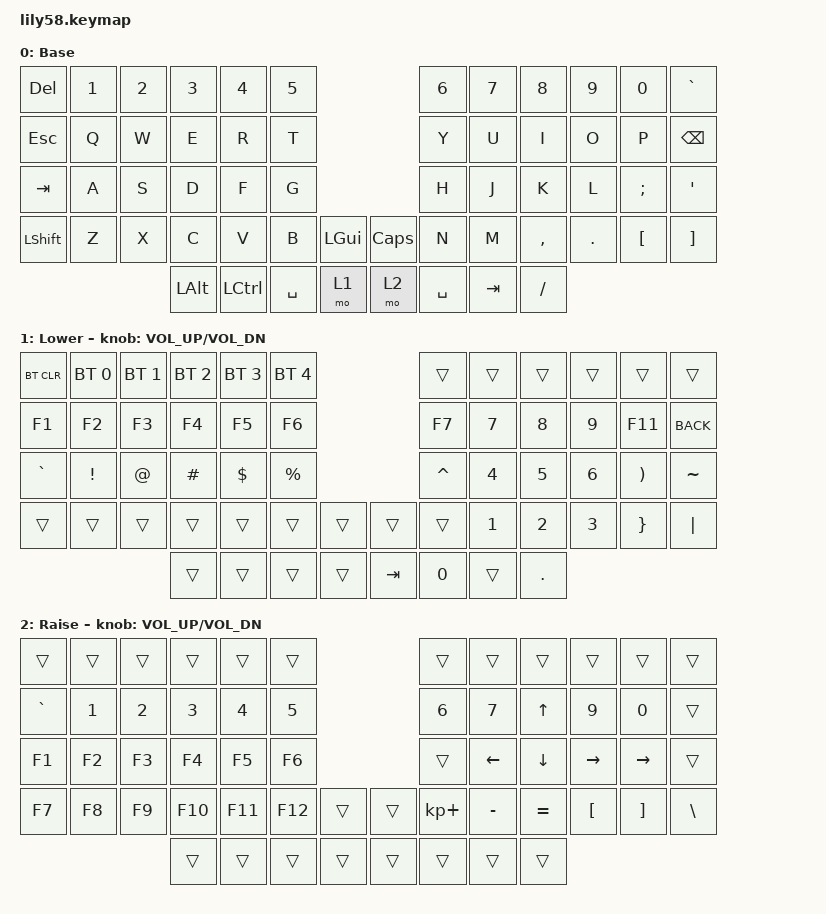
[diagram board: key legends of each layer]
/*
 * Copyright (c) 2020 The ZMK Contributors
 *
 * SPDX-License-Identifier: MIT
 */

#include <behaviors.dtsi>
#include <dt-bindings/zmk/bt.h>
#include <dt-bindings/zmk/keys.h>

/ {
    macros {
        M1: M1 {
            compatible = "zmk,behavior-macro";
            #binding-cells = <0>;
            bindings = <>;
            label = "M1";
        };
    };

    keymap {
        compatible = "zmk,keymap";

        default_layer {
            // ------------------------------------------------------------------------------------------------------------
            // |  ESC  |  1  |  2  |  3   |  4   |  5   |                   |  6   |  7    |  8    |  9   |   0   |   `   |
            // |  TAB  |  Q  |  W  |  E   |  R   |  T   |                   |  Y   |  U    |  I    |  O   |   P   |   -   |
            // |  CTRL |  A  |  S  |  D   |  F   |  G   |                   |  H   |  J    |  K    |  L   |   ;   |   '   |
            // | SHIFT |  Z  |  X  |  C   |  V   |  B   |   "["  |  |  "]"  |  N   |  M    |  ,    |  .   |   /   | SHIFT |
            //                     | ALT  | GUI  | LOWER|  SPACE |  | ENTER | RAISE| BSPC  | GUI   |

            display-name = "Base";
            bindings = <
&kp DEL     &kp N1  &kp N2  &kp N3    &kp N4     &kp N5                                   &kp N6     &kp N7   &kp N8     &kp N9   &kp N0            &kp GRAVE
&kp ESCAPE  &kp Q   &kp W   &kp E     &kp R      &kp T                                    &kp Y      &kp U    &kp I      &kp O    &kp P             &kp BACKSPACE
&kp TAB     &kp A   &kp S   &kp D     &kp F      &kp G                                    &kp H      &kp J    &kp K      &kp L    &kp SEMI          &kp SQT
&kp LSHFT   &kp Z   &kp X   &kp C     &kp V      &kp B      &kp LEFT_GUI    &kp CAPSLOCK  &kp N      &kp M    &kp COMMA  &kp DOT  &kp LEFT_BRACKET  &kp RIGHT_BRACKET
                            &kp LALT  &kp LCTRL  &kp SPACE  &mo 1           &mo 2         &kp SPACE  &kp TAB  &kp SLASH
            >;
        };

        lower_layer {
            // ------------------------------------------------------------------------------------------------------------
            // | BTCLR | BT1 | BT2 |  BT3 |  BT4 |  BT5 |                   |      |       |       |      |       |       |
            // |  F1   |  F2 |  F3 |  F4  |  F5  |  F6  |                   |  F7  |  F8   |  F9   |  F10 |  F11  |  F12  |
            // |   `   |  !  |  @  |  #   |  $   |  %   |                   |  ^   |  &    |  *    |  (   |   )   |   ~   |
            // |       |     |     |      |      |      |        |  |       |      |  _    |  +    |  {   |   }   |  "|"  |
            //                     |      |      |      |        |  |       |      |       |       |

            display-name = "Lower";
            bindings = <
&bt BT_CLR  &bt BT_SEL 0  &bt BT_SEL 1  &bt BT_SEL 2  &bt BT_SEL 3  &bt BT_SEL 4                     &trans     &trans        &trans        &trans        &trans    &trans
&kp F1      &kp F2        &kp F3        &kp F4        &kp F5        &kp F6                           &kp F7     &kp N7        &kp N8        &kp N9        &kp F11   &kp K_BACK
&kp GRAVE   &kp EXCL      &kp AT        &kp HASH      &kp DOLLAR    &kp PRCNT                        &kp CARET  &kp NUMBER_4  &kp N5        &kp NUMBER_6  &kp RPAR  &kp TILDE
&trans      &trans        &trans        &trans        &trans        &trans        &trans    &trans   &trans     &kp N1        &kp NUMBER_2  &kp NUMBER_3  &kp RBRC  &kp PIPE
                                        &trans        &trans        &trans        &trans    &kp TAB  &kp N0     &trans        &kp PERIOD
            >;

            sensor-bindings = <&inc_dec_kp C_VOL_UP C_VOL_DN>;
        };

        raise_layer {
            // ------------------------------------------------------------------------------------------------------------
            // |       |     |     |      |      |      |                   |      |       |       |      |       |       |
            // |   `   |  1  |  2  |  3   |  4   |  5   |                   |  6   |   7   |   8   |  9   |   0   |       |
            // |   F1  |  F2 |  F3 |  F4  |  F5  |  F6  |                   |      |   <-  |   v   |  ^   |  ->   |       |
            // |   F7  |  F8 |  F9 |  F10 |  F11 |  F12 |        |  |       |  +   |   -   |   =   |  [   |   ]   |   \   |
            //                     |      |      |      |        |  |       |      |       |       |

            display-name = "Raise";
            bindings = <
&trans     &trans  &trans  &trans   &trans   &trans                     &trans       &trans     &trans        &trans     &trans     &trans
&kp GRAVE  &kp N1  &kp N2  &kp N3   &kp N4   &kp N5                     &kp N6       &kp N7     &kp UP_ARROW  &kp N9     &kp N0     &trans
&kp F1     &kp F2  &kp F3  &kp F4   &kp F5   &kp F6                     &trans       &kp LEFT   &kp DOWN      &kp RIGHT  &kp RIGHT  &trans
&kp F7     &kp F8  &kp F9  &kp F10  &kp F11  &kp F12  &trans    &trans  &kp KP_PLUS  &kp MINUS  &kp EQUAL     &kp LBKT   &kp RBKT   &kp BSLH
                           &trans   &trans   &trans   &trans    &trans  &trans       &trans     &trans
            >;

            sensor-bindings = <&inc_dec_kp C_VOL_UP C_VOL_DN>;
        };

        extra_1 { status = "reserved"; };

        extra_2 { status = "reserved"; };

        extra_3 { status = "reserved"; };
    };
};
